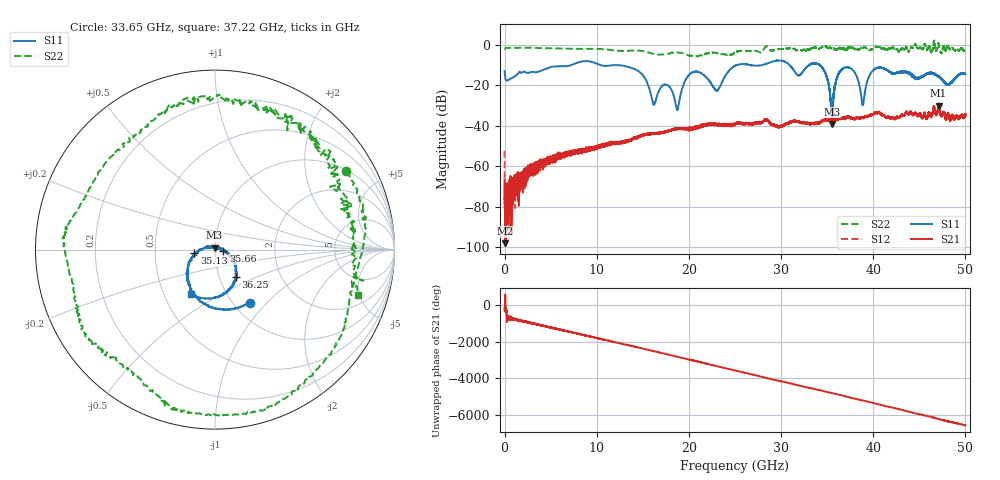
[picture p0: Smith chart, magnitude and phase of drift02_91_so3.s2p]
!Created with skrf (http://scikit-rf.org).
# Hz S RI R 50.0
!freq ReS11 ImS11 ReS21 ImS21 ReS12 ImS12 ReS22 ImS22
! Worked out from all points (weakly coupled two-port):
!   10001 points, 300 kHz to 50 GHz, reference 50 ohm
!   highest |S21| = -30.05 dB at 47.09 GHz (marker M1); lowest = -98.1 dB at 90.3 MHz (marker M2)
!   lowest |S11| = -39.1 dB at 35.5 GHz (marker M3), VSWR 1.02, Z = 49.7 + j1.07 ohm
!   |S11| at or under -10 dB: start of sweep to 7.179 GHz; 12.4 GHz to 25.17 GHz (12.77 GHz wide, 68 % of centre); 34.23 GHz to end of sweep (the widest 3 of 19)
!   |S22| runs from -5.7 to 2.2 dB; largest |S21 - S12| = 0.0034
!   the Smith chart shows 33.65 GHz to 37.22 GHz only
!   S11 on the Smith chart (normalised r, x): 33.65 GHz: 1.19, -0.80; 35.13 GHz: 0.79, -0.03; 35.66 GHz: 1.10, -0.01; 36.25 GHz: 1.20, -0.38; 37.22 GHz: 0.68, -0.37
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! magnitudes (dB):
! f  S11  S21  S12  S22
! 300 kHz  -13.0  -66.7  -52.3  -2.1
! 90.3 MHz  -16.5  -98.1  -84.9  -1.5
! 265.3 MHz  -17.6  -82.4  -80.2  -1.4
! 8.335 GHz  -8.2  -51.9  -52.2  -1.9
! 14.05 GHz  -11.8  -46.0  -46.4  -2.8
! 16.67 GHz  -23.5  -43.6  -43.4  -4.7
! 18.74 GHz  -32.0  -41.6  -41.3  -3.7
! 20.24 GHz  -13.9  -41.8  -41.8  -5.4
! 23.03 GHz  -22.6  -39.5  -39.1  -4.1
! 25 GHz  -10.4  -39.1  -38.9  -3.9
! 33.34 GHz  -9.4  -38.8  -38.9  -1.6
! 33.65 GHz  -9.0  -39.2  -38.9  -1.4
! 35.13 GHz  -18.6  -37.2  -37.2  -1.7
! 35.5 GHz  -39.1  -36.8  -36.5  -1.8
! 35.66 GHz  -26.6  -36.8  -36.7  -1.5
! 36.25 GHz  -14.3  -36.7  -36.6  -1.8
! 37.22 GHz  -11.0  -35.3  -35.2  -1.5
! 38.86 GHz  -29.9  -36.1  -35.9  -1.3
! 39.97 GHz  -12.6  -34.4  -34.5  -1.9
! 41.67 GHz  -12.9  -35.4  -35.6  -1.9
! 47.09 GHz  -15.8  -30.0  -30.3  0.8
! 50 GHz  -14.5  -34.7  -34.3  -2.6
